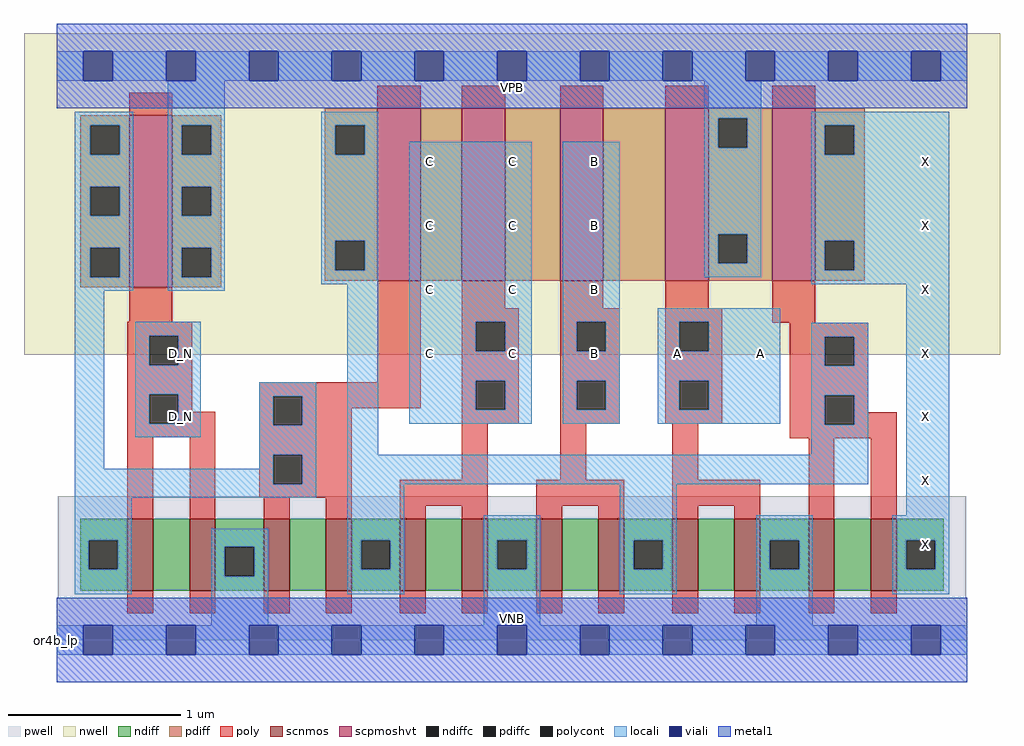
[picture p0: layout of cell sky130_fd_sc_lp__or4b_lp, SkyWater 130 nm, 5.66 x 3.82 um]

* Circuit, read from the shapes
.subckt sky130_fd_sc_lp__or4b_lp A B C D_N VGND VNB VPB VPWR X
XM1 n1 D_N n2 VNB sky130_fd_pr__nfet_01v8 w=0.42 l=0.15
XM2 VGND D_N n1 VNB sky130_fd_pr__nfet_01v8 w=0.42 l=0.15
XM3 n3 n2 VGND VNB sky130_fd_pr__nfet_01v8 w=0.42 l=0.15
XM4 n4 n2 n3 VNB sky130_fd_pr__nfet_01v8 w=0.42 l=0.15
XM5 n5 C n4 VNB sky130_fd_pr__nfet_01v8 w=0.42 l=0.15
XM6 VGND C n5 VNB sky130_fd_pr__nfet_01v8 w=0.42 l=0.15
XM7 n6 B VGND VNB sky130_fd_pr__nfet_01v8 w=0.42 l=0.15
XM8 n4 B n6 VNB sky130_fd_pr__nfet_01v8 w=0.42 l=0.15
XM9 n7 A n4 VNB sky130_fd_pr__nfet_01v8 w=0.42 l=0.15
XM10 VGND A n7 VNB sky130_fd_pr__nfet_01v8 w=0.42 l=0.15
XM11 n8 n4 VGND VNB sky130_fd_pr__nfet_01v8 w=0.42 l=0.15
XM12 X n4 n8 VNB sky130_fd_pr__nfet_01v8 w=0.42 l=0.15
XM13 VPWR D_N n2 VPB sky130_fd_pr__pfet_01v8_hvt w=1 l=0.25
XM14 n9 n2 n4 VPB sky130_fd_pr__pfet_01v8_hvt w=1 l=0.25
XM15 n10 C n9 VPB sky130_fd_pr__pfet_01v8_hvt w=1 l=0.25
XM16 n11 B n10 VPB sky130_fd_pr__pfet_01v8_hvt w=1 l=0.25
XM17 VPWR A n11 VPB sky130_fd_pr__pfet_01v8_hvt w=1 l=0.25
XM18 X n4 VPWR VPB sky130_fd_pr__pfet_01v8_hvt w=1 l=0.25
.ends

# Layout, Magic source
magic
tech sky130A
magscale 1 2
<< nwell >>
rect -38 331 1094 704
<< pwell >>
rect 1 49 1055 167
rect 0 0 1056 49
<< scnmos >>
rect 82 57 112 141
rect 154 57 184 141
rect 240 57 270 141
rect 312 57 342 141
rect 398 57 428 141
rect 470 57 500 141
rect 556 57 586 141
rect 628 57 658 141
rect 714 57 744 141
rect 786 57 816 141
rect 872 57 902 141
rect 944 57 974 141
<< scpmoshvt >>
rect 84 409 134 609
rect 372 417 422 617
rect 470 417 520 617
rect 584 417 634 617
rect 706 417 756 617
rect 830 417 880 617
<< ndiff >>
rect 27 116 82 141
rect 27 82 37 116
rect 71 82 82 116
rect 27 57 82 82
rect 112 57 154 141
rect 184 108 240 141
rect 184 74 195 108
rect 229 74 240 108
rect 184 57 240 74
rect 270 57 312 141
rect 342 116 398 141
rect 342 82 353 116
rect 387 82 398 116
rect 342 57 398 82
rect 428 57 470 141
rect 500 116 556 141
rect 500 82 511 116
rect 545 82 556 116
rect 500 57 556 82
rect 586 57 628 141
rect 658 116 714 141
rect 658 82 669 116
rect 703 82 714 116
rect 658 57 714 82
rect 744 57 786 141
rect 816 116 872 141
rect 816 82 827 116
rect 861 82 872 116
rect 816 57 872 82
rect 902 57 944 141
rect 974 116 1029 141
rect 974 82 985 116
rect 1019 82 1029 116
rect 974 57 1029 82
<< pdiff >>
rect 27 597 84 609
rect 27 563 39 597
rect 73 563 84 597
rect 27 526 84 563
rect 27 492 39 526
rect 73 492 84 526
rect 27 455 84 492
rect 27 421 39 455
rect 73 421 84 455
rect 27 409 84 421
rect 134 597 191 609
rect 134 563 145 597
rect 179 563 191 597
rect 134 526 191 563
rect 134 492 145 526
rect 179 492 191 526
rect 134 455 191 492
rect 134 421 145 455
rect 179 421 191 455
rect 134 409 191 421
rect 311 597 372 617
rect 311 563 323 597
rect 357 563 372 597
rect 311 463 372 563
rect 311 429 323 463
rect 357 429 372 463
rect 311 417 372 429
rect 422 417 470 617
rect 520 417 584 617
rect 634 417 706 617
rect 756 605 830 617
rect 756 571 767 605
rect 801 571 830 605
rect 756 471 830 571
rect 756 437 767 471
rect 801 437 830 471
rect 756 417 830 437
rect 880 597 937 617
rect 880 563 891 597
rect 925 563 937 597
rect 880 463 937 563
rect 880 429 891 463
rect 925 429 937 463
rect 880 417 937 429
<< ndiffc >>
rect 37 82 71 116
rect 195 74 229 108
rect 353 82 387 116
rect 511 82 545 116
rect 669 82 703 116
rect 827 82 861 116
rect 985 82 1019 116
<< pdiffc >>
rect 39 563 73 597
rect 39 492 73 526
rect 39 421 73 455
rect 145 563 179 597
rect 145 492 179 526
rect 145 421 179 455
rect 323 563 357 597
rect 323 429 357 463
rect 767 571 801 605
rect 767 437 801 471
rect 891 563 925 597
rect 891 429 925 463
<< poly >>
rect 84 609 134 635
rect 372 617 422 643
rect 470 617 520 643
rect 584 617 634 643
rect 706 617 756 643
rect 830 617 880 643
rect 84 369 134 409
rect 82 353 157 369
rect 82 319 107 353
rect 141 319 157 353
rect 82 285 157 319
rect 372 299 422 417
rect 82 251 107 285
rect 141 265 157 285
rect 235 283 422 299
rect 141 251 184 265
rect 82 235 184 251
rect 82 141 112 235
rect 154 141 184 235
rect 235 249 251 283
rect 285 269 422 283
rect 470 385 520 417
rect 584 385 634 417
rect 706 385 756 417
rect 470 369 536 385
rect 470 335 486 369
rect 520 335 536 369
rect 470 301 536 335
rect 285 249 342 269
rect 235 215 342 249
rect 235 181 251 215
rect 285 181 342 215
rect 470 267 486 301
rect 520 267 536 301
rect 470 251 536 267
rect 584 369 653 385
rect 584 335 603 369
rect 637 335 653 369
rect 584 301 653 335
rect 584 267 603 301
rect 637 267 653 301
rect 584 251 653 267
rect 706 369 772 385
rect 706 335 722 369
rect 756 335 772 369
rect 830 368 880 417
rect 706 301 772 335
rect 706 267 722 301
rect 756 267 772 301
rect 706 251 772 267
rect 850 352 941 368
rect 850 318 891 352
rect 925 318 941 352
rect 850 284 941 318
rect 470 186 500 251
rect 584 186 614 251
rect 714 186 744 251
rect 850 250 891 284
rect 925 264 941 284
rect 925 250 974 264
rect 850 234 974 250
rect 235 165 342 181
rect 240 141 270 165
rect 312 141 342 165
rect 398 156 500 186
rect 398 141 428 156
rect 470 141 500 156
rect 556 156 658 186
rect 556 141 586 156
rect 628 141 658 156
rect 714 156 816 186
rect 714 141 744 156
rect 786 141 816 156
rect 872 141 902 234
rect 944 141 974 234
rect 82 31 112 57
rect 154 31 184 57
rect 240 31 270 57
rect 312 31 342 57
rect 398 31 428 57
rect 470 31 500 57
rect 556 31 586 57
rect 628 31 658 57
rect 714 31 744 57
rect 786 31 816 57
rect 872 31 902 57
rect 944 31 974 57
<< polycont >>
rect 107 319 141 353
rect 107 251 141 285
rect 251 249 285 283
rect 486 335 520 369
rect 251 181 285 215
rect 486 267 520 301
rect 603 335 637 369
rect 603 267 637 301
rect 722 335 756 369
rect 722 267 756 301
rect 891 318 925 352
rect 891 250 925 284
<< locali >>
rect 0 649 31 683
rect 65 649 127 683
rect 161 649 223 683
rect 257 649 319 683
rect 353 649 415 683
rect 449 649 511 683
rect 545 649 607 683
rect 641 649 703 683
rect 737 649 799 683
rect 833 649 895 683
rect 929 649 991 683
rect 1025 649 1056 683
rect 21 597 89 613
rect 21 563 39 597
rect 73 563 89 597
rect 21 526 89 563
rect 21 492 39 526
rect 73 492 89 526
rect 21 455 89 492
rect 21 421 39 455
rect 73 421 89 455
rect 21 405 89 421
rect 129 597 195 649
rect 129 563 145 597
rect 179 563 195 597
rect 129 526 195 563
rect 129 492 145 526
rect 179 492 195 526
rect 129 455 195 492
rect 129 421 145 455
rect 179 421 195 455
rect 129 405 195 421
rect 307 597 373 613
rect 307 563 323 597
rect 357 563 373 597
rect 751 605 817 649
rect 307 463 373 563
rect 307 429 323 463
rect 357 429 373 463
rect 307 413 373 429
rect 21 199 55 405
rect 91 353 167 369
rect 91 319 107 353
rect 141 319 167 353
rect 91 285 167 319
rect 91 251 107 285
rect 141 251 167 285
rect 91 235 167 251
rect 235 283 301 299
rect 235 249 251 283
rect 285 249 301 283
rect 235 215 301 249
rect 235 199 251 215
rect 21 181 251 199
rect 285 181 301 215
rect 21 165 301 181
rect 337 215 373 413
rect 409 369 551 578
rect 409 335 486 369
rect 520 335 551 369
rect 409 301 551 335
rect 409 267 486 301
rect 520 267 551 301
rect 409 251 551 267
rect 587 369 653 578
rect 751 571 767 605
rect 801 571 817 605
rect 751 471 817 571
rect 751 437 767 471
rect 801 437 817 471
rect 751 421 817 437
rect 875 597 1035 613
rect 875 563 891 597
rect 925 563 1035 597
rect 875 463 1035 563
rect 875 429 891 463
rect 925 429 1035 463
rect 875 413 1035 429
rect 587 335 603 369
rect 637 335 653 369
rect 587 301 653 335
rect 587 267 603 301
rect 637 267 653 301
rect 587 251 653 267
rect 697 369 839 385
rect 697 335 722 369
rect 756 335 839 369
rect 697 301 839 335
rect 697 267 722 301
rect 756 267 839 301
rect 697 251 839 267
rect 875 352 941 368
rect 875 318 891 352
rect 925 318 941 352
rect 875 284 941 318
rect 875 250 891 284
rect 925 250 941 284
rect 875 215 941 250
rect 337 181 941 215
rect 21 116 87 165
rect 21 82 37 116
rect 71 82 87 116
rect 21 53 87 82
rect 179 108 245 129
rect 179 74 195 108
rect 229 74 245 108
rect 179 17 245 74
rect 337 116 403 181
rect 337 82 353 116
rect 387 82 403 116
rect 337 53 403 82
rect 495 116 561 145
rect 495 82 511 116
rect 545 82 561 116
rect 495 17 561 82
rect 653 116 719 181
rect 985 145 1035 413
rect 653 82 669 116
rect 703 82 719 116
rect 653 53 719 82
rect 811 116 877 145
rect 811 82 827 116
rect 861 82 877 116
rect 811 17 877 82
rect 969 116 1035 145
rect 969 82 985 116
rect 1019 82 1035 116
rect 969 53 1035 82
rect 0 -17 31 17
rect 65 -17 127 17
rect 161 -17 223 17
rect 257 -17 319 17
rect 353 -17 415 17
rect 449 -17 511 17
rect 545 -17 607 17
rect 641 -17 703 17
rect 737 -17 799 17
rect 833 -17 895 17
rect 929 -17 991 17
rect 1025 -17 1056 17
<< viali >>
rect 31 649 65 683
rect 127 649 161 683
rect 223 649 257 683
rect 319 649 353 683
rect 415 649 449 683
rect 511 649 545 683
rect 607 649 641 683
rect 703 649 737 683
rect 799 649 833 683
rect 895 649 929 683
rect 991 649 1025 683
rect 31 -17 65 17
rect 127 -17 161 17
rect 223 -17 257 17
rect 319 -17 353 17
rect 415 -17 449 17
rect 511 -17 545 17
rect 607 -17 641 17
rect 703 -17 737 17
rect 799 -17 833 17
rect 895 -17 929 17
rect 991 -17 1025 17
<< metal1 >>
rect 0 683 1056 715
rect 0 649 31 683
rect 65 649 127 683
rect 161 649 223 683
rect 257 649 319 683
rect 353 649 415 683
rect 449 649 511 683
rect 545 649 607 683
rect 641 649 703 683
rect 737 649 799 683
rect 833 649 895 683
rect 929 649 991 683
rect 1025 649 1056 683
rect 0 617 1056 649
rect 0 17 1056 49
rect 0 -17 31 17
rect 65 -17 127 17
rect 161 -17 223 17
rect 257 -17 319 17
rect 353 -17 415 17
rect 449 -17 511 17
rect 545 -17 607 17
rect 641 -17 703 17
rect 737 -17 799 17
rect 833 -17 895 17
rect 929 -17 991 17
rect 1025 -17 1056 17
rect 0 -49 1056 -17
<< labels >>
flabel pwell s 0 0 1056 49 0 FreeSans 200 0 0 0 VNB
port 6 nsew ground bidirectional
flabel nwell s 0 617 1056 666 0 FreeSans 200 0 0 0 VPB
port 7 nsew power bidirectional
rlabel comment s 0 0 0 0 4 or4b_lp
flabel metal1 s 0 617 1056 666 0 FreeSans 340 0 0 0 VPWR
port 8 nsew power bidirectional
flabel metal1 s 0 0 1056 49 0 FreeSans 340 0 0 0 VGND
port 5 nsew ground bidirectional
flabel locali s 127 242 161 276 0 FreeSans 340 0 0 0 D_N
port 4 nsew signal input
flabel locali s 127 316 161 350 0 FreeSans 340 0 0 0 D_N
port 4 nsew signal input
flabel locali s 415 316 449 350 0 FreeSans 340 0 0 0 C
port 3 nsew signal input
flabel locali s 415 390 449 424 0 FreeSans 340 0 0 0 C
port 3 nsew signal input
flabel locali s 415 464 449 498 0 FreeSans 340 0 0 0 C
port 3 nsew signal input
flabel locali s 415 538 449 572 0 FreeSans 340 0 0 0 C
port 3 nsew signal input
flabel locali s 511 316 545 350 0 FreeSans 340 0 0 0 C
port 3 nsew signal input
flabel locali s 511 390 545 424 0 FreeSans 340 0 0 0 C
port 3 nsew signal input
flabel locali s 511 464 545 498 0 FreeSans 340 0 0 0 C
port 3 nsew signal input
flabel locali s 511 538 545 572 0 FreeSans 340 0 0 0 C
port 3 nsew signal input
flabel locali s 607 316 641 350 0 FreeSans 340 0 0 0 B
port 2 nsew signal input
flabel locali s 607 390 641 424 0 FreeSans 340 0 0 0 B
port 2 nsew signal input
flabel locali s 607 464 641 498 0 FreeSans 340 0 0 0 B
port 2 nsew signal input
flabel locali s 607 538 641 572 0 FreeSans 340 0 0 0 B
port 2 nsew signal input
flabel locali s 703 316 737 350 0 FreeSans 340 0 0 0 A
port 1 nsew signal input
flabel locali s 799 316 833 350 0 FreeSans 340 0 0 0 A
port 1 nsew signal input
flabel locali s 991 94 1025 128 0 FreeSans 340 0 0 0 X
port 9 nsew signal output
flabel locali s 991 168 1025 202 0 FreeSans 340 0 0 0 X
port 9 nsew signal output
flabel locali s 991 242 1025 276 0 FreeSans 340 0 0 0 X
port 9 nsew signal output
flabel locali s 991 316 1025 350 0 FreeSans 340 0 0 0 X
port 9 nsew signal output
flabel locali s 991 390 1025 424 0 FreeSans 340 0 0 0 X
port 9 nsew signal output
flabel locali s 991 464 1025 498 0 FreeSans 340 0 0 0 X
port 9 nsew signal output
flabel locali s 991 538 1025 572 0 FreeSans 340 0 0 0 X
port 9 nsew signal output
<< properties >>
string LEFsite unit
string LEFclass CORE
string FIXED_BBOX 0 0 1056 666
string GDS_FILE $PDKPATH/libs.ref/sky130_fd_sc_lp/gds/sky130_fd_sc_lp.gds
string LEFsymmetry X Y R90
string GDS_END 2909472
string GDS_START 2899692
<< end >>
